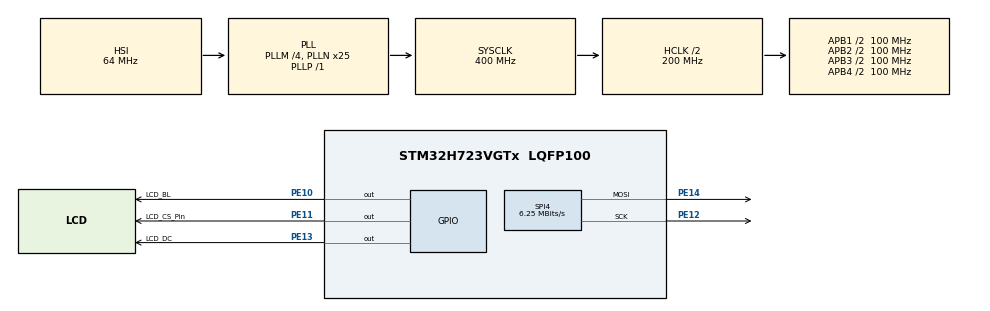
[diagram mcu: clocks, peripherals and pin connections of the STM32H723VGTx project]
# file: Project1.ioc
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CORTEX_M7.default_mode_Activation=1
Mcu.Family=STM32H7
Mcu.Name=STM32H723VGTx
Mcu.Package=LQFP100
NVIC.PriorityGroup=NVIC_PRIORITYGROUP_4
PE10.GPIO_Label=LCD_BL
PE10.Signal=GPIO_Output
PE11.GPIO_Label=LCD_CS_Pin
PE11.Signal=GPIO_Output
PE12.Mode=TX_Only_Simplex_Unidirect_Master
PE12.Signal=SPI4_SCK
PE13.GPIO_Label=LCD_DC
PE13.Signal=GPIO_Output
PE14.Mode=TX_Only_Simplex_Unidirect_Master
PE14.Signal=SPI4_MOSI
PH0-OSC_IN.Mode=HSE-External-Oscillator
PH0-OSC_IN.Signal=RCC_OSC_IN
PH1-OSC_OUT.Mode=HSE-External-Oscillator
PH1-OSC_OUT.Signal=RCC_OSC_OUT
ProjectManager.HeapSize=0x200
ProjectManager.StackSize=0x400
ProjectManager.TargetToolchain=STM32CubeIDE
RCC.ADCFreq_Value=129000000
RCC.APB1Freq_Value=100000000
RCC.APB2Freq_Value=100000000
RCC.APB3Freq_Value=100000000
RCC.APB4Freq_Value=100000000
RCC.CortexFreq_Value=400000000
RCC.D1PPRE=RCC_APB3_DIV2
RCC.D2PPRE1=RCC_APB1_DIV2
RCC.D2PPRE2=RCC_APB2_DIV2
RCC.D3PPRE=RCC_APB4_DIV2
RCC.DIVM1=4
RCC.DIVN1=25
RCC.DIVP1=1
RCC.HCLKFreq_Value=200000000
RCC.HPRE=RCC_HCLK_DIV2
RCC.PLL2FRACN=0
RCC.PLL3FRACN=0
RCC.PLLFRACN=0
RCC.SYSCLKFreq_VALUE=400000000
RCC.SYSCLKSource=RCC_SYSCLKSOURCE_PLLCLK
RCC.USBFreq_Value=200000000
SPI4.BaudRatePrescaler=SPI_BAUDRATEPRESCALER_16
SPI4.CalculateBaudRate=6.25 MBits/s
SPI4.DataSize=SPI_DATASIZE_8BIT
SPI4.Direction=SPI_DIRECTION_2LINES_TXONLY
SPI4.Mode=SPI_MODE_MASTER
SPI4.VirtualType=VM_MASTER
STMicroelectronics.X-CUBE-TOUCHGFX.4.26.1.ApplicationCcGraphicsJjApplication=TouchGFXOoGenerator
STMicroelectronics.X-CUBE-TOUCHGFX.4.26.1.tgfx_custom_height=80
STMicroelectronics.X-CUBE-TOUCHGFX.4.26.1.tgfx_custom_width=160
STMicroelectronics.X-CUBE-TOUCHGFX.4.26.1_IsPackSelfContextualization=true
VP_CRC_VS_CRC.Mode=CRC_Activate
VP_MEMORYMAP_VS_MEMORYMAP.Mode=CurAppReg
VP_STMicroelectronics.X-CUBE-TOUCHGFX_VS_GraphicsJjApplication_4.26.1.Mode=GraphicsJjApplication
board=custom

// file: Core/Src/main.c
/* USER CODE BEGIN Header */
/**
  ******************************************************************************
  * @file           : main.c
  * @brief          : Main program body
  ******************************************************************************
  * @attention
  *
  * Copyright (c) 2026 STMicroelectronics.
  * All rights reserved.
  *
  * This software is licensed under terms that can be found in the LICENSE file
  * in the root directory of this software component.
  * If no LICENSE file comes with this software, it is provided AS-IS.
  *
  ******************************************************************************
  */
/* USER CODE END Header */
#include "main.h"
#include "app_touchgfx.h"

CRC_HandleTypeDef hcrc;

SPI_HandleTypeDef hspi4;

/* USER CODE BEGIN PV */

#define LCD_CS_LOW()   HAL_GPIO_WritePin(LCD_CS_Pin_GPIO_Port, LCD_CS_Pin_Pin, GPIO_PIN_RESET)
#define LCD_CS_HIGH()  HAL_GPIO_WritePin(LCD_CS_Pin_GPIO_Port, LCD_CS_Pin_Pin, GPIO_PIN_SET)
#define LCD_DC_CMD()   HAL_GPIO_WritePin(LCD_DC_GPIO_Port, LCD_DC_Pin, GPIO_PIN_RESET)
#define LCD_DC_DATA()  HAL_GPIO_WritePin(LCD_DC_GPIO_Port, LCD_DC_Pin, GPIO_PIN_SET)

#define COLOR_BLACK   0x0000
#define COLOR_WHITE   0xFFFF
#define COLOR_GREEN   0x07E0

static void LCD_WriteCmd(uint8_t cmd) {
    LCD_DC_CMD();
    LCD_CS_LOW();
    HAL_SPI_Transmit(&hspi4, &cmd, 1, HAL_MAX_DELAY);
    LCD_CS_HIGH();
}

void LCD_WriteData(uint8_t *data, uint16_t len) {
    LCD_DC_DATA();
    LCD_CS_LOW();
    HAL_SPI_Transmit(&hspi4, data, len, HAL_MAX_DELAY);
    LCD_CS_HIGH();
}

static void LCD_WriteData8(uint8_t d) { LCD_WriteData(&d, 1); }

static void ST7735_Init(void) {
    uint8_t buf[16];

    LCD_WriteCmd(0x01); HAL_Delay(150);      // SWRESET
    LCD_WriteCmd(0x11); HAL_Delay(255);      // SLPOUT (выход из сна)

    buf[0]=0x01; buf[1]=0x2C; buf[2]=0x2D;
    LCD_WriteCmd(0xB1); LCD_WriteData(buf,3); // FRMCTR1
    LCD_WriteCmd(0xB2); LCD_WriteData(buf,3); // FRMCTR2

    buf[0]=0x01; buf[1]=0x2C; buf[2]=0x2D; buf[3]=0x01; buf[4]=0x2C; buf[5]=0x2D;
    LCD_WriteCmd(0xB3); LCD_WriteData(buf,6); // FRMCTR3

    LCD_WriteCmd(0xB4); LCD_WriteData8(0x07); // INVCTR

    buf[0]=0xA2; buf[1]=0x02; buf[2]=0x84;
    LCD_WriteCmd(0xC0); LCD_WriteData(buf,3); // PWCTR1
    LCD_WriteCmd(0xC1); LCD_WriteData8(0xC5); // PWCTR2
    buf[0]=0x0A; buf[1]=0x00;
    LCD_WriteCmd(0xC2); LCD_WriteData(buf,2); // PWCTR3
    buf[0]=0x8A; buf[1]=0x2A;
    LCD_WriteCmd(0xC3); LCD_WriteData(buf,2); // PWCTR4
    buf[0]=0x8A; buf[1]=0xEE;
    LCD_WriteCmd(0xC4); LCD_WriteData(buf,2); // PWCTR5

    LCD_WriteCmd(0xC5); LCD_WriteData8(0x0E); // VMCTR1
    LCD_WriteCmd(0x21);                        // INVON (инверсия цвета включена для этой матрицы)

    LCD_WriteCmd(0x36); LCD_WriteData8(0x78);  // MADCTL (ориентация экрана + порядок RGB)
    LCD_WriteCmd(0x3A); LCD_WriteData8(0x05);  // COLMOD - 16 бит/пиксель (RGB565)

    LCD_WriteCmd(0x13); HAL_Delay(10);         // NORON
    LCD_WriteCmd(0x29); HAL_Delay(100);        // DISPON - включить экран

    HAL_GPIO_WritePin(LCD_BL_GPIO_Port, LCD_BL_Pin, GPIO_PIN_RESET); // подсветка ON (активный low)
}

void ST7735_SetAddrWindow(uint8_t x0, uint8_t y0, uint8_t x1, uint8_t y1) {
    uint8_t buf[4];
    // экран физически 160x80, но с offset x+1, y+26 (особенность этой матрицы)
    buf[0]=0x00; buf[1]=x0+1; buf[2]=0x00; buf[3]=x1+1;
    LCD_WriteCmd(0x2A); LCD_WriteData(buf,4); // CASET

    buf[0]=0x00; buf[1]=y0+26; buf[2]=0x00; buf[3]=y1+26;
    LCD_WriteCmd(0x2B); LCD_WriteData(buf,4); // RASET

    LCD_WriteCmd(0x2C); // RAMWR - начинаем писать пиксели
}

/* USER CODE END PV */

void SystemClock_Config(void);
static void MPU_Config(void);
static void MX_GPIO_Init(void);
static void MX_SPI4_Init(void);
static void MX_CRC_Init(void);

int main(void)
{

  /* MPU Configuration--------------------------------------------------------*/
  MPU_Config();

  /* MCU Configuration--------------------------------------------------------*/

  /* Reset of all peripherals, Initializes the Flash interface and the Systick. */
  HAL_Init();

  /* Configure the system clock */
  SystemClock_Config();

  /* Initialize all configured peripherals */
  MX_GPIO_Init();
  MX_SPI4_Init();
  MX_CRC_Init();
  MX_TouchGFX_Init();
  /* USER CODE BEGIN 2 */
  ST7735_Init();
  /* USER CODE END 2 */

  /* Infinite loop */
  while (1)
  {

  MX_TouchGFX_Process();
  }
}

void SystemClock_Config(void)
{
  RCC_OscInitTypeDef RCC_OscInitStruct = {0};
  RCC_ClkInitTypeDef RCC_ClkInitStruct = {0};

  /** Supply configuration update enable
  */
  HAL_PWREx_ConfigSupply(PWR_LDO_SUPPLY);

  /** Configure the main internal regulator output voltage
  */
  __HAL_PWR_VOLTAGESCALING_CONFIG(PWR_REGULATOR_VOLTAGE_SCALE1);

  while(!__HAL_PWR_GET_FLAG(PWR_FLAG_VOSRDY)) {}

  /** Initializes the RCC Oscillators according to the specified parameters
  * in the RCC_OscInitTypeDef structure.
  */
  RCC_OscInitStruct.OscillatorType = RCC_OSCILLATORTYPE_HSI;
  RCC_OscInitStruct.HSIState = RCC_HSI_DIV1;
  RCC_OscInitStruct.HSICalibrationValue = 64;
  RCC_OscInitStruct.PLL.PLLState = RCC_PLL_ON;
  RCC_OscInitStruct.PLL.PLLSource = RCC_PLLSOURCE_HSI;
  RCC_OscInitStruct.PLL.PLLM = 4;
  RCC_OscInitStruct.PLL.PLLN = 25;
  RCC_OscInitStruct.PLL.PLLP = 1;
  RCC_OscInitStruct.PLL.PLLQ = 2;
  RCC_OscInitStruct.PLL.PLLR = 2;
  RCC_OscInitStruct.PLL.PLLRGE = RCC_PLL1VCIRANGE_3;
  RCC_OscInitStruct.PLL.PLLVCOSEL = RCC_PLL1VCOWIDE;
  RCC_OscInitStruct.PLL.PLLFRACN = 0;
  if (HAL_RCC_OscConfig(&RCC_OscInitStruct) != HAL_OK)
  {
    Error_Handler();
  }

  /** Initializes the CPU, AHB and APB buses clocks
  */
  RCC_ClkInitStruct.ClockType = RCC_CLOCKTYPE_HCLK|RCC_CLOCKTYPE_SYSCLK
                              |RCC_CLOCKTYPE_PCLK1|RCC_CLOCKTYPE_PCLK2
                              |RCC_CLOCKTYPE_D3PCLK1|RCC_CLOCKTYPE_D1PCLK1;
  RCC_ClkInitStruct.SYSCLKSource = RCC_SYSCLKSOURCE_PLLCLK;
  RCC_ClkInitStruct.SYSCLKDivider = RCC_SYSCLK_DIV1;
  RCC_ClkInitStruct.AHBCLKDivider = RCC_HCLK_DIV2;
  RCC_ClkInitStruct.APB3CLKDivider = RCC_APB3_DIV2;
  RCC_ClkInitStruct.APB1CLKDivider = RCC_APB1_DIV2;
  RCC_ClkInitStruct.APB2CLKDivider = RCC_APB2_DIV2;
  RCC_ClkInitStruct.APB4CLKDivider = RCC_APB4_DIV2;

  if (HAL_RCC_ClockConfig(&RCC_ClkInitStruct, FLASH_LATENCY_2) != HAL_OK)
  {
    Error_Handler();
  }
}

static void MX_CRC_Init(void)
{

  hcrc.Instance = CRC;
  hcrc.Init.DefaultPolynomialUse = DEFAULT_POLYNOMIAL_ENABLE;
  hcrc.Init.DefaultInitValueUse = DEFAULT_INIT_VALUE_ENABLE;
  hcrc.Init.InputDataInversionMode = CRC_INPUTDATA_INVERSION_NONE;
  hcrc.Init.OutputDataInversionMode = CRC_OUTPUTDATA_INVERSION_DISABLE;
  hcrc.InputDataFormat = CRC_INPUTDATA_FORMAT_BYTES;
  if (HAL_CRC_Init(&hcrc) != HAL_OK)
  {
    Error_Handler();
  }

}

static void MX_SPI4_Init(void)
{

  /* SPI4 parameter configuration*/
  hspi4.Instance = SPI4;
  hspi4.Init.Mode = SPI_MODE_MASTER;
  hspi4.Init.Direction = SPI_DIRECTION_2LINES_TXONLY;
  hspi4.Init.DataSize = SPI_DATASIZE_8BIT;
  hspi4.Init.CLKPolarity = SPI_POLARITY_LOW;
  hspi4.Init.CLKPhase = SPI_PHASE_1EDGE;
  hspi4.Init.NSS = SPI_NSS_SOFT;
  hspi4.Init.BaudRatePrescaler = SPI_BAUDRATEPRESCALER_16;
  hspi4.Init.FirstBit = SPI_FIRSTBIT_MSB;
  hspi4.Init.TIMode = SPI_TIMODE_DISABLE;
  hspi4.Init.CRCCalculation = SPI_CRCCALCULATION_DISABLE;
  hspi4.Init.CRCPolynomial = 0x0;
  hspi4.Init.NSSPMode = SPI_NSS_PULSE_ENABLE;
  hspi4.Init.NSSPolarity = SPI_NSS_POLARITY_LOW;
  hspi4.Init.FifoThreshold = SPI_FIFO_THRESHOLD_01DATA;
  hspi4.Init.TxCRCInitializationPattern = SPI_CRC_INITIALIZATION_ALL_ZERO_PATTERN;
  hspi4.Init.RxCRCInitializationPattern = SPI_CRC_INITIALIZATION_ALL_ZERO_PATTERN;
  hspi4.Init.MasterSSIdleness = SPI_MASTER_SS_IDLENESS_00CYCLE;
  hspi4.Init.MasterInterDataIdleness = SPI_MASTER_INTERDATA_IDLENESS_00CYCLE;
  hspi4.Init.MasterReceiverAutoSusp = SPI_MASTER_RX_AUTOSUSP_DISABLE;
  hspi4.Init.MasterKeepIOState = SPI_MASTER_KEEP_IO_STATE_DISABLE;
  hspi4.Init.IOSwap = SPI_IO_SWAP_DISABLE;
  if (HAL_SPI_Init(&hspi4) != HAL_OK)
  {
    Error_Handler();
  }

}

static void MX_GPIO_Init(void)
{
  GPIO_InitTypeDef GPIO_InitStruct = {0};

  /* GPIO Ports Clock Enable */
  __HAL_RCC_GPIOH_CLK_ENABLE();
  __HAL_RCC_GPIOE_CLK_ENABLE();

  /*Configure GPIO pin Output Level */
  HAL_GPIO_WritePin(GPIOE, LCD_BL_Pin|LCD_CS_Pin_Pin|LCD_DC_Pin, GPIO_PIN_RESET);

  /*Configure GPIO pins : LCD_BL_Pin LCD_CS_Pin_Pin LCD_DC_Pin */
  GPIO_InitStruct.Pin = LCD_BL_Pin|LCD_CS_Pin_Pin|LCD_DC_Pin;
  GPIO_InitStruct.Mode = GPIO_MODE_OUTPUT_PP;
  GPIO_InitStruct.Pull = GPIO_NOPULL;
  GPIO_InitStruct.Speed = GPIO_SPEED_FREQ_LOW;
  HAL_GPIO_Init(GPIOE, &GPIO_InitStruct);

  /* USER CODE BEGIN MX_GPIO_Init_2 */

  // Кнопка K1 (PC13) — CubeMX её не настраивал, добавлено руками
  __HAL_RCC_GPIOC_CLK_ENABLE();

  GPIO_InitStruct.Pin = GPIO_PIN_13;
  GPIO_InitStruct.Mode = GPIO_MODE_INPUT;
  GPIO_InitStruct.Pull = GPIO_PULLDOWN; // кнопка замыкает на VDD (активный HIGH), нужен pulldown для стабильного LOW когда не нажата
  HAL_GPIO_Init(GPIOC, &GPIO_InitStruct);

  /* USER CODE END MX_GPIO_Init_2 */
}

 /* MPU Configuration */

void MPU_Config(void)
{
  MPU_Region_InitTypeDef MPU_InitStruct = {0};

  /* Disables the MPU */
  HAL_MPU_Disable();

  /** Initializes and configures the Region and the memory to be protected
  */
  MPU_InitStruct.Enable = MPU_REGION_ENABLE;
  MPU_InitStruct.Number = MPU_REGION_NUMBER0;
  MPU_InitStruct.BaseAddress = 0x0;
  MPU_InitStruct.Size = MPU_REGION_SIZE_4GB;
  MPU_InitStruct.SubRegionDisable = 0x87;
  MPU_InitStruct.TypeExtField = MPU_TEX_LEVEL0;
  MPU_InitStruct.AccessPermission = MPU_REGION_NO_ACCESS;
  MPU_InitStruct.DisableExec = MPU_INSTRUCTION_ACCESS_DISABLE;
  MPU_InitStruct.IsShareable = MPU_ACCESS_SHAREABLE;
  MPU_InitStruct.IsCacheable = MPU_ACCESS_NOT_CACHEABLE;
  MPU_InitStruct.IsBufferable = MPU_ACCESS_NOT_BUFFERABLE;

  HAL_MPU_ConfigRegion(&MPU_InitStruct);
  /* Enables the MPU */
  HAL_MPU_Enable(MPU_PRIVILEGED_DEFAULT);

}

void Error_Handler(void)
{
  __disable_irq();
  while (1)
  {
  }
}
